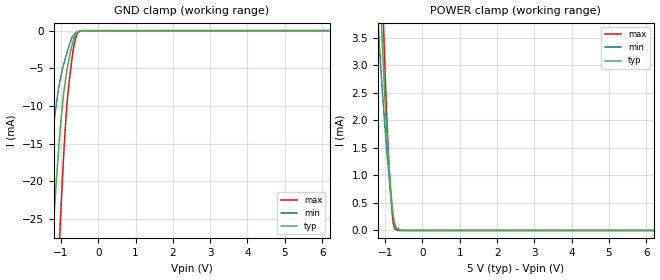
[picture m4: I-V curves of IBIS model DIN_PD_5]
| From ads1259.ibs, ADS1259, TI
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|   Input DIN_PD model 5V
[Model]   DIN_PD_5
Model_type   Input
|Signals   SCLK
Vinl = 1.0V
Vinh = 4.0V
| variable   typ   min   max
C_comp   7.2525480pF   8.6595630pF   6.0751880pF
[Voltage Range]   5.000V   4.750V   5.250V
[power clamp reference]   5.0V   4.75V   5.25V
[Temperature Range]   27.0   105.0   -40.0
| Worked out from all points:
|   GND clamp passes 1 mA (typ) near -0.65 V on its own axis
|   POWER clamp passes 1 mA (typ) near -0.88 V on its own axis
[GND Clamp]
|   Voltage   I(typ)   I(min)   I(max)
-5V       -432.4mA   -306.6mA   -533.5mA
-1.506V   -52.05mA   -27.21mA   -83.43mA
-1.217V   -26.91mA   -13.19mA   -47.84mA
-1.076V   -16.69mA   -8.047mA   -31.67mA
-1.023V   -13.17mA   -6.517mA   -25.91mA
-917.8mV  -7.912mA   -4.316mA   -15.7mA
-831.8mV  -5.021mA   -2.801mA   -9.357mA
-700mV    -1.916mA   -881.9uA   -3.506mA
-598.7mV  -498.6uA   -254.1uA   -865.8uA
-524.5mV  -137.4uA   -145.3uA   -133.8uA
-438mV    -18.05uA   -20.52uA   -8.716uA
9.985V    0A         0A         0A
[POWER Clamp]
|   Voltage   I(typ)   I(min)   I(max)
-5V       84.92mA    69.77mA    102.8mA
-1.175V   5.093mA    3.623mA    6.604mA
-1.093V   3.67mA     2.703mA    4.736mA
-1.047V   2.963mA    2.261mA    3.757mA
-1.002V   2.331mA    1.848mA    2.851mA
-956.9mV  1.804mA    1.455mA    2.046mA
-917.8mV  1.384mA    1.146mA    1.457mA
-831.8mV  589.2uA    517.1uA    476.3uA
-772.1mV  201.7uA    212.8uA    94.23uA
-715.8mV  38.96uA    68.84uA    21.28uA
-656.6mV  17.93uA    29.9uA     397.9nA
9.985V    0A         0A         0A
